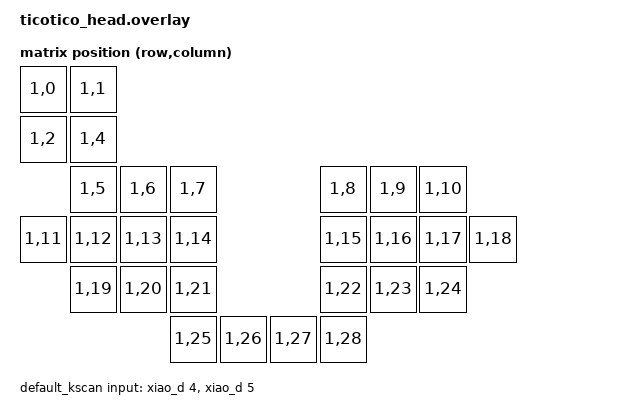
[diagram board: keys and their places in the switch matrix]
/*
 * Copyright (c) 2021 The ZMK Contributors
 *
 * SPDX-License-Identifier: MIT
 */

 #include <input/processors.dtsi>
 #include <dt-bindings/zmk/matrix_transform.h>
 #include <dt-bindings/zmk/input_transform.h>

/ {
    chosen {
        zmk,kscan = &default_kscan;
        zmk,matrix_transform = &default_transform;
    };

    default_transform: keymap_transform_0 {
        compatible = "zmk,matrix-transform";
        columns = <36>;
        rows = <1>;
        map = <
        RC(1,0)  RC(1,1) 
        RC(1,2)  RC(1,4)

                 RC(1,5)  RC(1,6)  RC(1,7)                       RC(1,8)  RC(1,9)  RC(1,10) 
        RC(1,11) RC(1,12) RC(1,13) RC(1,14)                      RC(1,15) RC(1,16) RC(1,17) RC(1,18) 
                 RC(1,19) RC(1,20) RC(1,21)                      RC(1,22) RC(1,23) RC(1,24) 
                                   RC(1,25) RC(1,26)    RC(1,27) RC(1,28)     



        >;
    };

    default_kscan: kscan_0 {
        compatible = "zmk,kscan-gpio-direct";
        wakeup-source;
        input-gpios
            = <&xiao_d 4 (GPIO_ACTIVE_LOW | GPIO_PULL_UP)>
            , <&xiao_d 5 (GPIO_ACTIVE_LOW | GPIO_PULL_UP)>
            ;
    };

    wired_split {
        compatible = "zmk,wired-split";
        device = <&xiao_serial>;
    };
};

// Cirque Trackpad

&xiao_i2c {
    status = "okay";

    glidepoint: glidepoint@2a {
        compatible = "cirque,pinnacle";
        reg = <0x2a>;
        status = "okay";
        // Pin marked as Serial in the Dilemma PCB (008/D0) is connected to the S pin in the TRRS footprint, 
        // so connecting this S pin to the DR pin in the Cirque, 
        // will make the MCU be notified when there is data ready in the cirque
        dr-gpios = <&xiao_d 0 (GPIO_ACTIVE_HIGH)>;
        sensitivity = "2x";
        sleep; 
        no-taps;
    };
};

/ {
	glidepoint_listener: glidepoint_listener {
		compatible = "zmk,input-listener";
		status = "okay";
		device = <&glidepoint>;
        input-processors = <&zip_xy_transform (INPUT_TRANSFORM_XY_SWAP | INPUT_TRANSFORM_X_INVERT | INPUT_TRANSFORM_Y_INVERT)>, <&zip_xy_scaler 3 2>;
	};
};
